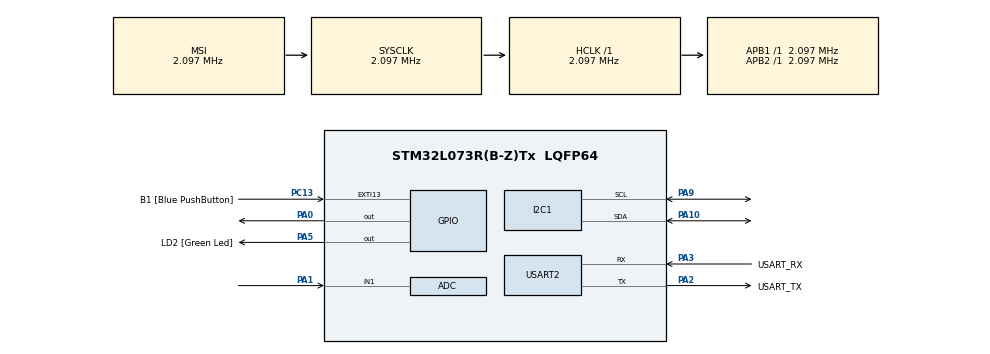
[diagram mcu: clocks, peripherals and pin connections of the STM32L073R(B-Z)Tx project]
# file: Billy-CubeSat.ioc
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I2C1.Timing=0x00000608
Mcu.Family=STM32L0
Mcu.Name=STM32L073R(B-Z)Tx
Mcu.Package=LQFP64
PA0.Signal=GPIO_Output
PA1.Mode=IN1
PA1.Signal=ADC_IN1
PA10.Mode=I2C
PA10.Signal=I2C1_SDA
PA13.GPIO_Label=TMS
PA13.Mode=Serial_Wire
PA13.Signal=SYS_SWDIO
PA14.GPIO_Label=TCK
PA14.Mode=Serial_Wire
PA14.Signal=SYS_SWCLK
PA2.GPIO_Label=USART_TX
PA2.Mode=Asynchronous
PA2.Signal=USART2_TX
PA3.GPIO_Label=USART_RX
PA3.Mode=Asynchronous
PA3.Signal=USART2_RX
PA5.GPIO_Label=LD2 [Green Led]
PA5.Signal=GPIO_Output
PA9.Mode=I2C
PA9.Signal=I2C1_SCL
PC13.GPIO_Label=B1 [Blue PushButton]
PC13.GPIO_ModeDefaultEXTI=GPIO_MODE_IT_FALLING
PC13.Signal=GPXTI13
PC14-OSC32_IN.Mode=LSE-External-Oscillator
PC14-OSC32_IN.Signal=RCC_OSC32_IN
PC15-OSC32_OUT.Mode=LSE-External-Oscillator
PC15-OSC32_OUT.Signal=RCC_OSC32_OUT
PH0-OSC_IN.GPIO_Label=MCO
PH0-OSC_IN.Mode=HSE-External-Clock-Source
PH0-OSC_IN.Signal=RCC_OSC_IN
ProjectManager.HeapSize=0x200
ProjectManager.StackSize=0x400
ProjectManager.TargetToolchain=CMake
RCC.AHBFreq_Value=2097000
RCC.APB1Freq_Value=2097000
RCC.APB1TimFreq_Value=2097000
RCC.APB2Freq_Value=2097000
RCC.APB2TimFreq_Value=2097000
RCC.HSE_VALUE=8000000
RCC.HSI16_VALUE=16000000
RCC.HSI48_VALUE=48000000
RCC.HSI_VALUE=16000000
RCC.MSI_VALUE=2097000
RCC.SYSCLKFreq_VALUE=2097000
RCC.VCOOutputFreq_Value=48000000
USART2.VirtualMode-Asynchronous=VM_ASYNC
board=NUCLEO-L073RZ

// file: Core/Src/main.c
/* USER CODE BEGIN Header */
/**
  ******************************************************************************
  * @file           : main.c
  * @brief          : Main program body
  ******************************************************************************
  * @attention
  *
  * Copyright (c) 2026 STMicroelectronics.
  * All rights reserved.
  *
  * This software is licensed under terms that can be found in the LICENSE file
  * in the root directory of this software component.
  * If no LICENSE file comes with this software, it is provided AS-IS.
  *
  ******************************************************************************
  */
/* USER CODE END Header */
#include "main.h"

/* USER CODE BEGIN Includes */
#include <stdio.h>
#include <string.h>
/* USER CODE END Includes */

ADC_HandleTypeDef hadc;

I2C_HandleTypeDef hi2c1;

UART_HandleTypeDef huart2;

void SystemClock_Config(void);
static void MX_GPIO_Init(void);
static void MX_USART2_UART_Init(void);
static void MX_I2C1_Init(void);
static void MX_ADC_Init(void);

int main(void)
{

  /* MCU Configuration--------------------------------------------------------*/

  /* Reset of all peripherals, Initializes the Flash interface and the Systick. */
  HAL_Init();

  /* Configure the system clock */
  SystemClock_Config();

  /* Initialize all configured peripherals */
  MX_GPIO_Init();
  MX_USART2_UART_Init();
  MX_I2C1_Init();
  MX_ADC_Init();
  /* USER CODE BEGIN 2 */
  uint8_t rxData[16];
  HAL_StatusTypeDef status;
  #define I2C_ADDR 0x76
  huart2.Init.BaudRate = 115200;
  HAL_UART_Init(&huart2);
  printf("I2C Data Init\n\r");
  /* USER CODE END 2 */

  /* Infinite loop */
  while (1)
  {

    /* USER CODE BEGIN 3 */
    status = HAL_I2C_Mem_Read(&hi2c1, I2C_ADDR << 1, 0xFC, I2C_MEMADD_SIZE_8BIT, rxData, sizeof(rxData), 1000);
    if (status == HAL_OK) {
      printf("I2C Data: ");
      for (int i = 0; i < sizeof(rxData); i++) {
        printf("0x%02X ", rxData[i]);
      }
      printf("\r\n");
    } else {
      printf("I2C Read Error: %d\r\n", status);
    }

    HAL_ADC_Start(&hadc);
    HAL_ADC_PollForConversion(&hadc, 1);
    printf("Poll :%ld\r\n", HAL_ADC_GetValue(&hadc));
    HAL_ADC_Stop(&hadc);

    HAL_ADC_Start_IT(&hadc);
    HAL_ADC_ConvCpltCallback(&hadc);
    printf("IT :%ld\r\n", HAL_ADC_GetValue(&hadc));
    HAL_ADC_Stop_IT(&hadc);

    HAL_Delay(1000);
    /*for (uint8_t addr = 1; addr < 128; addr++) {
      if (HAL_I2C_IsDeviceReady(&hi2c1, addr << 1, 1, 10) == HAL_OK) {
        printf("Found: 0x%02X\r\n", addr);
      }
    }*/
  }
  /* USER CODE END 3 */
}

void SystemClock_Config(void)
{
  RCC_OscInitTypeDef RCC_OscInitStruct = {0};
  RCC_ClkInitTypeDef RCC_ClkInitStruct = {0};
  RCC_PeriphCLKInitTypeDef PeriphClkInit = {0};

  /** Configure the main internal regulator output voltage
  */
  __HAL_PWR_VOLTAGESCALING_CONFIG(PWR_REGULATOR_VOLTAGE_SCALE1);

  /** Initializes the RCC Oscillators according to the specified parameters
  * in the RCC_OscInitTypeDef structure.
  */
  RCC_OscInitStruct.OscillatorType = RCC_OSCILLATORTYPE_MSI;
  RCC_OscInitStruct.MSIState = RCC_MSI_ON;
  RCC_OscInitStruct.MSICalibrationValue = 0;
  RCC_OscInitStruct.MSIClockRange = RCC_MSIRANGE_5;
  RCC_OscInitStruct.PLL.PLLState = RCC_PLL_NONE;
  if (HAL_RCC_OscConfig(&RCC_OscInitStruct) != HAL_OK)
  {
    Error_Handler();
  }

  /** Initializes the CPU, AHB and APB buses clocks
  */
  RCC_ClkInitStruct.ClockType = RCC_CLOCKTYPE_HCLK|RCC_CLOCKTYPE_SYSCLK
                              |RCC_CLOCKTYPE_PCLK1|RCC_CLOCKTYPE_PCLK2;
  RCC_ClkInitStruct.SYSCLKSource = RCC_SYSCLKSOURCE_MSI;
  RCC_ClkInitStruct.AHBCLKDivider = RCC_SYSCLK_DIV1;
  RCC_ClkInitStruct.APB1CLKDivider = RCC_HCLK_DIV1;
  RCC_ClkInitStruct.APB2CLKDivider = RCC_HCLK_DIV1;

  if (HAL_RCC_ClockConfig(&RCC_ClkInitStruct, FLASH_LATENCY_0) != HAL_OK)
  {
    Error_Handler();
  }
  PeriphClkInit.PeriphClockSelection = RCC_PERIPHCLK_USART2|RCC_PERIPHCLK_I2C1;
  PeriphClkInit.Usart2ClockSelection = RCC_USART2CLKSOURCE_PCLK1;
  PeriphClkInit.I2c1ClockSelection = RCC_I2C1CLKSOURCE_PCLK1;
  if (HAL_RCCEx_PeriphCLKConfig(&PeriphClkInit) != HAL_OK)
  {
    Error_Handler();
  }
}

static void MX_ADC_Init(void)
{

  ADC_ChannelConfTypeDef sConfig = {0};

  /** Configure the global features of the ADC (Clock, Resolution, Data Alignment and number of conversion)
  */
  hadc.Instance = ADC1;
  hadc.Init.OversamplingMode = DISABLE;
  hadc.Init.ClockPrescaler = ADC_CLOCK_SYNC_PCLK_DIV1;
  hadc.Init.Resolution = ADC_RESOLUTION_12B;
  hadc.Init.SamplingTime = ADC_SAMPLETIME_1CYCLE_5;
  hadc.Init.ScanConvMode = ADC_SCAN_DIRECTION_FORWARD;
  hadc.Init.DataAlign = ADC_DATAALIGN_RIGHT;
  hadc.Init.ContinuousConvMode = DISABLE;
  hadc.Init.DiscontinuousConvMode = DISABLE;
  hadc.Init.ExternalTrigConvEdge = ADC_EXTERNALTRIGCONVEDGE_NONE;
  hadc.Init.ExternalTrigConv = ADC_SOFTWARE_START;
  hadc.Init.DMAContinuousRequests = DISABLE;
  hadc.Init.EOCSelection = ADC_EOC_SINGLE_CONV;
  hadc.Init.Overrun = ADC_OVR_DATA_PRESERVED;
  hadc.Init.LowPowerAutoWait = DISABLE;
  hadc.Init.LowPowerFrequencyMode = ENABLE;
  hadc.Init.LowPowerAutoPowerOff = DISABLE;
  if (HAL_ADC_Init(&hadc) != HAL_OK)
  {
    Error_Handler();
  }

  /** Configure for the selected ADC regular channel to be converted.
  */
  sConfig.Channel = ADC_CHANNEL_1;
  sConfig.Rank = ADC_RANK_CHANNEL_NUMBER;
  if (HAL_ADC_ConfigChannel(&hadc, &sConfig) != HAL_OK)
  {
    Error_Handler();
  }

}

static void MX_I2C1_Init(void)
{

  hi2c1.Instance = I2C1;
  hi2c1.Init.Timing = 0x00000608;
  hi2c1.Init.OwnAddress1 = 0;
  hi2c1.Init.AddressingMode = I2C_ADDRESSINGMODE_7BIT;
  hi2c1.Init.DualAddressMode = I2C_DUALADDRESS_DISABLE;
  hi2c1.Init.OwnAddress2 = 0;
  hi2c1.Init.OwnAddress2Masks = I2C_OA2_NOMASK;
  hi2c1.Init.GeneralCallMode = I2C_GENERALCALL_DISABLE;
  hi2c1.Init.NoStretchMode = I2C_NOSTRETCH_DISABLE;
  if (HAL_I2C_Init(&hi2c1) != HAL_OK)
  {
    Error_Handler();
  }

  /** Configure Analogue filter
  */
  if (HAL_I2CEx_ConfigAnalogFilter(&hi2c1, I2C_ANALOGFILTER_ENABLE) != HAL_OK)
  {
    Error_Handler();
  }

  /** Configure Digital filter
  */
  if (HAL_I2CEx_ConfigDigitalFilter(&hi2c1, 0) != HAL_OK)
  {
    Error_Handler();
  }

}

static void MX_USART2_UART_Init(void)
{

  huart2.Instance = USART2;
  huart2.Init.BaudRate = 115200;
  huart2.Init.WordLength = UART_WORDLENGTH_8B;
  huart2.Init.StopBits = UART_STOPBITS_1;
  huart2.Init.Parity = UART_PARITY_NONE;
  huart2.Init.Mode = UART_MODE_TX_RX;
  huart2.Init.HwFlowCtl = UART_HWCONTROL_NONE;
  huart2.Init.OverSampling = UART_OVERSAMPLING_16;
  huart2.Init.OneBitSampling = UART_ONE_BIT_SAMPLE_DISABLE;
  huart2.AdvancedInit.AdvFeatureInit = UART_ADVFEATURE_NO_INIT;
  if (HAL_UART_Init(&huart2) != HAL_OK)
  {
    Error_Handler();
  }

}

static void MX_GPIO_Init(void)
{
  GPIO_InitTypeDef GPIO_InitStruct = {0};

  /* GPIO Ports Clock Enable */
  __HAL_RCC_GPIOC_CLK_ENABLE();
  __HAL_RCC_GPIOH_CLK_ENABLE();
  __HAL_RCC_GPIOA_CLK_ENABLE();

  /*Configure GPIO pin Output Level */
  HAL_GPIO_WritePin(GPIOA, GPIO_PIN_0|LD2_Pin, GPIO_PIN_RESET);

  /*Configure GPIO pin : B1_Pin */
  GPIO_InitStruct.Pin = B1_Pin;
  GPIO_InitStruct.Mode = GPIO_MODE_IT_FALLING;
  GPIO_InitStruct.Pull = GPIO_NOPULL;
  HAL_GPIO_Init(B1_GPIO_Port, &GPIO_InitStruct);

  /*Configure GPIO pins : PA0 LD2_Pin */
  GPIO_InitStruct.Pin = GPIO_PIN_0|LD2_Pin;
  GPIO_InitStruct.Mode = GPIO_MODE_OUTPUT_PP;
  GPIO_InitStruct.Pull = GPIO_NOPULL;
  GPIO_InitStruct.Speed = GPIO_SPEED_FREQ_LOW;
  HAL_GPIO_Init(GPIOA, &GPIO_InitStruct);

}

/* USER CODE BEGIN 4 */
int __io_putchar(int ch)
{
  /* Custom implementation of fputc here */
  HAL_UART_Transmit(&huart2, (uint8_t *)&ch, 1, 0xFFFF);
  return ch;
}

/* USER CODE END 4 */

void Error_Handler(void)
{
  __disable_irq();
  while (1)
  {
  }
}
